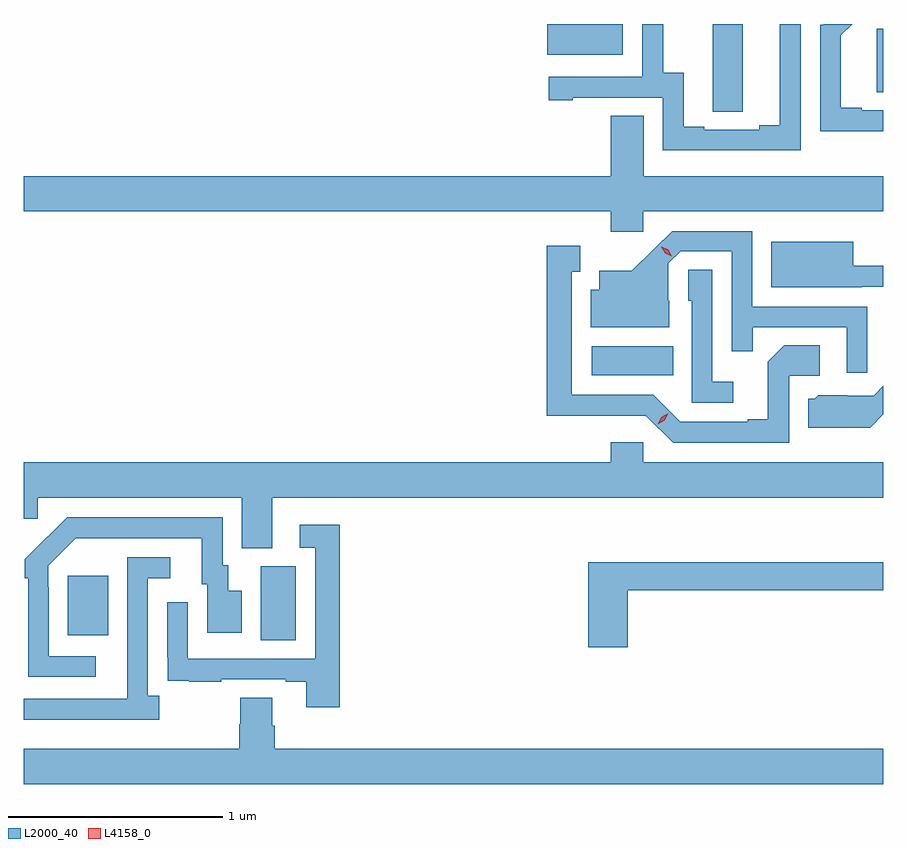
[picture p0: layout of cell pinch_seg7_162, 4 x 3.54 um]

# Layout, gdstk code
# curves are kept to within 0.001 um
import gdstk
lib = gdstk.Library(unit=1e-6, precision=1e-09)
def R(c, l, rs):  # rectangles x0, y0, x1, y1
    for r in rs: c.add(gdstk.rectangle(r[:2], r[2:], *l))
def P(c, l, *ps):  # polygons
    for p in ps: c.add(gdstk.Polygon(p, *l))
L2000_40 = (2000, 40)
L4158_0 = (4158, 0)

pinch_seg7_162 = lib.new_cell('pinch_seg7_162')
R(pinch_seg7_162, L2000_40, [(1115.078,1002.616,1115.242,1002.96), (1114.181,1002.641,1114.369,1002.916), (1116.618,1003.85,1116.998,1003.984), (1117.943,1005.166,1117.975,1005.46), (1116.41,1005.341,1116.763,1005.483)])
P(pinch_seg7_162, L2000_40, [(1117.943,1004.985),(1117.975,1004.985),(1117.975,1005.081),(1117.873,1005.081),(1117.873,1005.094),(1117.777,1005.094),(1117.777,1005.43),(1117.83,1005.483),(1117.698,1005.483),(1117.695,1005.48),(1117.68,1005.48),(1117.68,1004.984)],
  [(1117.59,1005.483),(1117.493,1005.483),(1117.493,1005.011),(1117.397,1005.011),(1117.397,1004.991),(1117.141,1004.991),(1117.141,1005.006),(1117.045,1005.006),(1117.045,1005.257),(1116.951,1005.257),(1116.951,1005.483),(1116.852,1005.483),(1116.852,1005.237),(1116.417,1005.237),(1116.417,1005.129),(1116.529,1005.129),(1116.529,1005.141),(1116.948,1005.141),(1116.948,1004.895),(1117.59,1004.895)],
  [(1117.321,1005.483),(1117.181,1005.483),(1117.181,1005.184),(1117.182,1005.184),(1117.182,1005.076),(1117.321,1005.076)],
  [(1116.858,1004.612),(1117.975,1004.612),(1117.975,1004.776),(1116.859,1004.776),(1116.859,1005.056),(1116.707,1005.056),(1116.707,1004.776),(1113.975,1004.776),(1113.975,1004.612),(1116.707,1004.612),(1116.707,1004.517),(1116.858,1004.517)],
  [(1117.899,1004.169),(1117.365,1004.169),(1117.365,1004.52),(1116.992,1004.52),(1116.805,1004.335),(1116.653,1004.335),(1116.653,1004.248),(1116.614,1004.248),(1116.614,1004.072),(1116.979,1004.072),(1116.979,1004.196),(1116.975,1004.196),(1116.975,1004.37),(1117.032,1004.427),(1117.269,1004.427),(1117.269,1003.96),(1117.367,1003.96),(1117.367,1004.073),(1117.803,1004.073),(1117.803,1003.86),(1117.899,1003.86)],
  [(1117.874,1004.262),(1117.974,1004.262),(1117.975,1004.261),(1117.975,1004.359),(1117.834,1004.359),(1117.834,1004.47),(1117.454,1004.47),(1117.454,1004.258),(1117.874,1004.258)],
  [(1117.536,1003.848),(1117.678,1003.848),(1117.678,1003.988),(1117.513,1003.988),(1117.437,1003.912),(1117.437,1003.645),(1117.343,1003.645),(1117.343,1003.632),(1117.029,1003.632),(1116.903,1003.758),(1116.526,1003.758),(1116.526,1004.331),(1116.565,1004.331),(1116.565,1004.452),(1116.408,1004.452),(1116.408,1003.661),(1116.87,1003.662),(1116.996,1003.536),(1117.536,1003.536)],
  [(1117.276,1003.819),(1117.179,1003.819),(1117.179,1004.339),(1117.068,1004.339),(1117.068,1004.196),(1117.083,1004.196),(1117.083,1003.722),(1117.276,1003.722)],
  [(1117.975,1003.667),(1117.975,1003.801),(1117.929,1003.755),(1117.806,1003.755),(1117.806,1003.756),(1117.672,1003.756),(1117.656,1003.74),(1117.625,1003.74),(1117.625,1003.604),(1117.913,1003.604)],
  [(1115.131,1003.28),(1117.975,1003.28),(1117.975,1003.444),(1116.858,1003.444),(1116.858,1003.537),(1116.707,1003.537),(1116.707,1003.444),(1113.975,1003.444),(1113.975,1003.182),(1114.041,1003.182),(1114.041,1003.28),(1114.991,1003.28),(1114.991,1003.045),(1115.131,1003.045)],
  [(1114.312,1002.543),(1114.092,1002.543),(1114.092,1002.863),(1114.089,1002.863),(1114.089,1002.963),(1114.218,1003.092),(1114.805,1003.092),(1114.805,1002.876),(1114.829,1002.876),(1114.829,1002.651),(1114.99,1002.651),(1114.99,1002.847),(1114.927,1002.847),(1114.927,1002.966),(1114.902,1002.966),(1114.902,1003.188),(1114.178,1003.188),(1113.981,1002.993),(1113.981,1002.905),(1113.996,1002.905),(1113.996,1002.447),(1114.312,1002.447)],
  [(1115.447,1003.153),(1115.259,1003.153),(1115.259,1003.047),(1115.331,1003.047),(1115.331,1002.531),(1114.74,1002.531),(1114.74,1002.793),(1114.644,1002.793),(1114.644,1002.538),(1114.645,1002.538),(1114.645,1002.429),(1114.747,1002.429),(1114.747,1002.423),(1114.895,1002.423),(1114.895,1002.435),(1115.195,1002.435),(1115.195,1002.423),(1115.291,1002.423),(1115.291,1002.306),(1115.447,1002.306)],
  [(1114.606,1002.358),(1114.554,1002.358),(1114.554,1002.906),(1114.657,1002.906),(1114.657,1003.002),(1114.458,1003.002),(1114.458,1002.545),(1114.457,1002.545),(1114.457,1002.345),(1113.975,1002.345),(1113.975,1002.248),(1114.606,1002.248)],
  [(1116.785,1002.85),(1117.975,1002.85),(1117.975,1002.979),(1116.602,1002.979),(1116.602,1002.585),(1116.785,1002.585)],
  [(1117.975,1002.112),(1115.144,1002.112),(1115.144,1002.218),(1115.131,1002.218),(1115.131,1002.35),(1114.984,1002.35),(1114.984,1002.225),(1114.979,1002.225),(1114.979,1002.112),(1113.975,1002.112),(1113.975,1001.948),(1117.975,1001.948)])
P(pinch_seg7_162, L4158_0, [(1116.924,1003.622),(1116.924,1003.622),(1116.942,1003.654),(1116.974,1003.673),(1116.975,1003.673),(1116.975,1003.673),(1116.957,1003.64),(1116.925,1003.622)],
  [(1116.991,1004.402),(1116.96,1004.417),(1116.942,1004.447),(1116.942,1004.447),(1116.943,1004.447),(1116.974,1004.432),(1116.991,1004.402),(1116.991,1004.402)])

lib.write_gds('pinch_seg7_162.gds')
